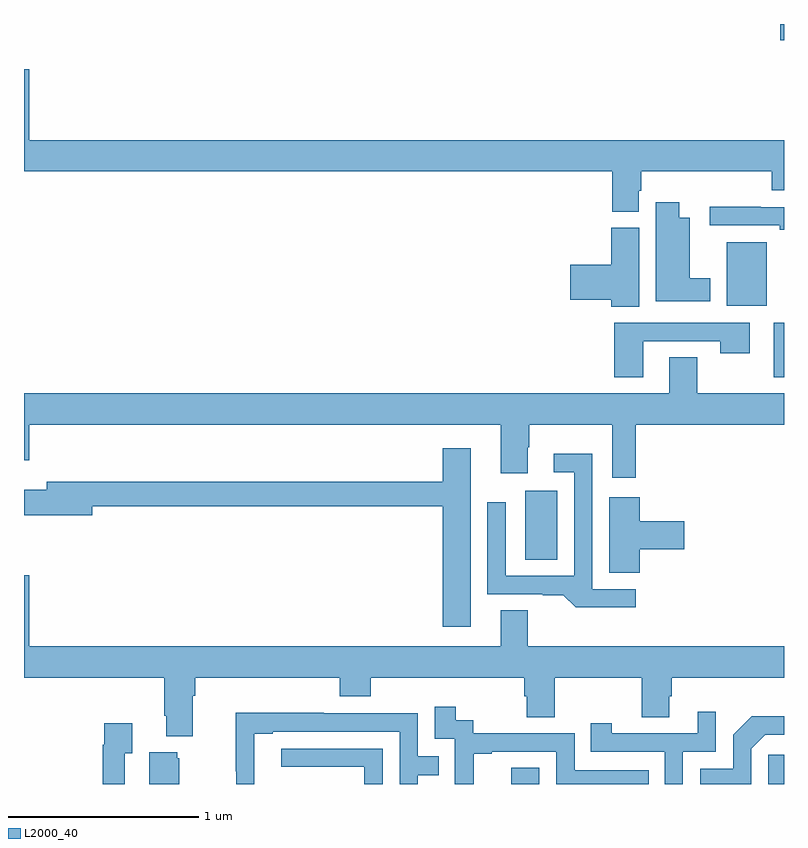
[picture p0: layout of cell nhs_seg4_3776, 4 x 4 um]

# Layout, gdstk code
import gdstk
lib = gdstk.Library(unit=1e-6, precision=1e-09)
def R(c, l, rs):  # rectangles x0, y0, x1, y1
    for r in rs: c.add(gdstk.rectangle(r[:2], r[2:], *l))
def P(c, l, *ps):  # polygons
    for p in ps: c.add(gdstk.Polygon(p, *l))
L2000_40 = (2000, 40)

nhs_seg4_3776 = lib.new_cell('nhs_seg4_3776')
R(nhs_seg4_3776, L2000_40, [(311.565,822.9,311.712,822.985), (312.918,822.9,313,823.054), (311.639,824.08,311.806,824.443), (312.947,825.042,313,825.328), (312.698,825.416,312.91,825.751), (312.98,826.815,313,826.9)])
P(nhs_seg4_3776, L2000_40, [(312.235,826.023),(312.248,826.023),(312.248,826.124),(312.935,826.124),(312.935,826.025),(313,826.025),(313,826.288),(309.028,826.288),(309.028,826.663),(309,826.663),(309,826.124),(312.095,826.124),(312.095,825.913),(312.235,825.913)],
  [(312.613,825.562),(312.505,825.562),(312.505,825.88),(312.448,825.88),(312.448,825.961),(312.326,825.961),(312.326,825.44),(312.613,825.44)],
  [(313,825.936),(312.878,825.936),(312.878,825.938),(312.609,825.938),(312.609,825.84),(312.978,825.84),(312.978,825.816),(313,825.816)],
  [(312.238,825.828),(312.092,825.828),(312.092,825.632),(311.874,825.632),(311.874,825.449),(312.092,825.449),(312.092,825.412),(312.238,825.412)],
  [(312.259,825.231),(312.664,825.231),(312.664,825.168),(312.82,825.168),(312.82,825.327),(312.107,825.327),(312.107,825.042),(312.259,825.042)],
  [(312.221,824.792),(313,824.792),(313,824.956),(312.543,824.956),(312.543,825.146),(312.395,825.146),(312.395,824.956),(309,824.956),(309,824.604),(309.028,824.604),(309.028,824.792),(311.51,824.792),(311.51,824.535),(311.65,824.535),(311.65,824.672),(311.658,824.672),(311.658,824.792),(312.095,824.792),(312.095,824.511),(312.221,824.511)],
  [(311.35,824.668),(311.204,824.668),(311.204,824.491),(309.119,824.491),(309.119,824.449),(309,824.449),(309,824.315),(309.358,824.315),(309.358,824.362),(311.204,824.362),(311.204,823.728),(311.35,823.728)],
  [(312.22,823.926),(311.991,823.926),(311.991,824.638),(311.787,824.638),(311.787,824.541),(311.895,824.541),(311.895,823.995),(311.535,823.995),(311.535,824.383),(311.439,824.383),(311.439,823.899),(311.729,823.899),(311.729,823.894),(311.837,823.894),(311.903,823.829),(312.22,823.829)],
  [(312.242,824.135),(312.475,824.135),(312.475,824.282),(312.242,824.282),(312.242,824.41),(312.08,824.41),(312.08,824.011),(312.242,824.011)],
  [(309.889,823.364),(309.902,823.364),(309.902,823.46),(310.661,823.46),(310.661,823.361),(310.826,823.361),(310.826,823.46),(311.633,823.46),(311.633,823.362),(311.645,823.362),(311.645,823.252),(311.793,823.252),(311.793,823.46),(312.25,823.46),(312.25,823.252),(312.397,823.252),(312.397,823.362),(312.41,823.362),(312.41,823.46),(313,823.46),(313,823.624),(311.65,823.624),(311.65,823.814),(311.51,823.814),(311.51,823.624),(309.028,823.624),(309.028,823.999),(309,823.999),(309,823.46),(309.737,823.46),(309.737,823.258),(309.749,823.258),(309.749,823.151),(309.889,823.151)],
  [(311.366,823.059),(311.461,823.059),(311.461,823.071),(311.802,823.071),(311.802,822.9),(312.287,822.9),(312.287,822.972),(311.898,822.972),(311.898,823.167),(311.364,823.167),(311.364,823.236),(311.272,823.236),(311.272,823.306),(311.163,823.306),(311.163,823.137),(311.268,823.137),(311.268,822.908),(311.267,822.908),(311.267,822.9),(311.366,822.9)],
  [(312.468,823.071),(312.642,823.071),(312.642,823.279),(312.545,823.279),(312.545,823.167),(312.094,823.167),(312.094,823.219),(311.983,823.219),(311.983,823.071),(312.372,823.071),(312.372,822.9),(312.468,822.9)],
  [(310.212,823.164),(310.309,823.164),(310.309,823.176),(310.977,823.176),(310.977,822.9),(311.073,822.9),(311.073,822.946),(311.183,822.946),(311.183,823.047),(311.073,823.047),(311.073,823.272),(310.577,823.272),(310.577,823.274),(310.114,823.274),(310.114,822.967),(310.116,822.967),(310.116,822.9),(310.212,822.9)],
  [(312.828,823.086),(312.9,823.158),(313,823.158),(313,823.256),(312.83,823.256),(312.732,823.158),(312.732,822.981),(312.558,822.981),(312.558,822.9),(312.828,822.9)],
  [(309.531,823.063),(309.571,823.063),(309.571,823.219),(309.423,823.219),(309.423,823.106),(309.415,823.106),(309.415,822.9),(309.531,822.9)],
  [(310.887,823.086),(310.353,823.086),(310.353,822.99),(310.791,822.99),(310.791,822.9),(310.887,822.9)],
  [(309.817,823.035),(309.806,823.035),(309.806,823.066),(309.659,823.066),(309.659,822.9),(309.817,822.9)])

lib.write_gds('nhs_seg4_3776.gds')
